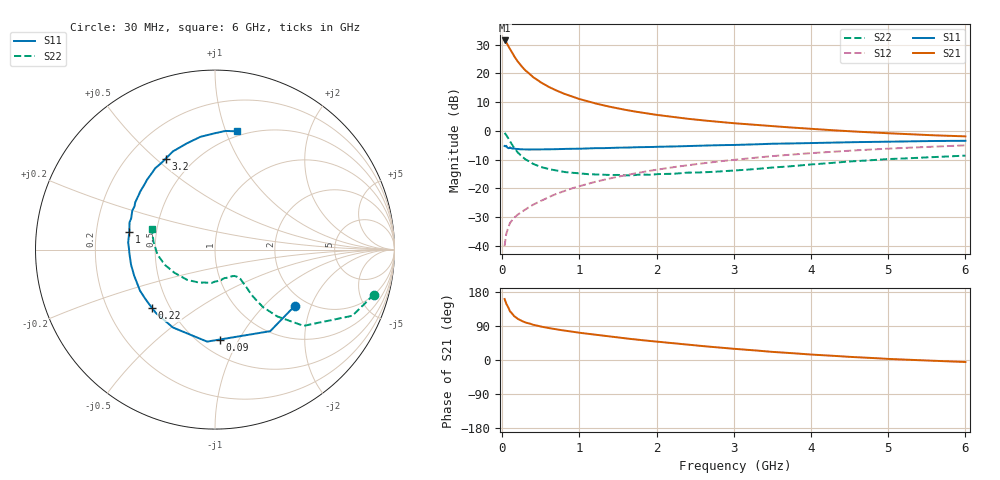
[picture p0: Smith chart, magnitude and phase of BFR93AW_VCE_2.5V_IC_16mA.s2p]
! Infineon Technologies  Discrete & RF Semiconductors
! BFR93AW
! VCE =  2.5 V,  IC =  16 mA
! Common Emitter S-Parameters:  Nov 2015
# GHz  S  MA  R  50
!  f  S11  S21  S12  S22
! GHz  MAG  ANG  MAG  ANG  MAG  ANG  MAG  ANG
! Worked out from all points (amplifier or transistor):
!   206 points, 30 MHz to 6 GHz, reference 50 ohm
!   highest |S21| = 31.5 dB at 30 MHz (marker M1)
!   |S21| within 3 dB of that: start of sweep to 100.6 MHz
!   unconditionally stable (mu >= 1): 582.5 MHz to 2.319 GHz
!   at 200 MHz: K = 0.65, MSG = 26.7 dB, |S12| = -29.2 dB
!   at 1.56 GHz: K = 1.05, MAG = 10.2 dB, |S12| = -15.7 dB
!   at 6 GHz: K = 0.93, MSG = 1.6 dB, |S12| = -5.1 dB
!   S11 on the Smith chart (normalised r, x): 30 MHz: 1.73, -1.54; 90 MHz: 0.62, -0.84; 220 MHz: 0.40, -0.34; 1 GHz: 0.35, +0.09; 3.2 GHz: 0.35, +0.54; 6 GHz: 0.46, +1.10
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0.03  0.5438 -35.3  37.41 160.9  0.0098 72.5  0.9202 -15.8
0.05  0.5488 -55.9  34.89 148.5  0.0157 66.4  0.8492 -25.7
0.09  0.5018 -87.0  27.9 133.2  0.023 60.1  0.6868 -37.0
0.1  0.5146 -94.9  26.57 128.2  0.0249 59.1  0.6517 -40.7
0.15  0.4933 -118.4  20.18 116.2  0.0303 56.0  0.5094 -47.0
0.2  0.4829 -133.0  16.1 108.6  0.0347 55.7  0.4202 -50.1
0.22  0.4781 -137.2  14.94 106.7  0.0363 56.3  0.3954 -50.4
0.26  0.4754 -145.2  12.83 102.4  0.0394 57.5  0.3503 -50.9
0.3  0.4765 -151.2  11.24 99.0  0.0428 58.9  0.319 -51.0
0.4  0.4733 -162.3  8.577 92.9  0.0517 62.0  0.2655 -50.0
0.5  0.4751 -169.8  6.954 88.1  0.0601 63.9  0.2341 -49.6
0.6  0.4765 -175.2  5.828 84.3  0.07 65.5  0.2158 -49.1
0.7  0.4787 179.8  5.037 80.8  0.0796 66.7  0.2036 -49.8
1  0.4869 168.4  3.572 71.9  0.1086 67.6  0.1815 -53.9
1.04  0.4895 167.1  3.449 70.9  0.1126 67.6  0.1791 -55.4
1.5  0.5095 154.8  2.447 59.4  0.1588 66.4  0.1704 -68.2
2.02  0.5275 142.1  1.879 47.9  0.2122 63.1  0.1762 -85.5
3.1  0.5713 120.3  1.324 28.1  0.3218 53.5  0.2074 -119.3
3.2  0.5764 118.5  1.292 26.6  0.3319 52.4  0.2118 -123.0
4.1  0.6158 103.3  1.059 13.3  0.4167 42.8  0.2651 -152.9
5.1  0.649 89.8  0.894 2.1  0.4964 31.7  0.3255 -177.7
6  0.6701 79.4  0.8 -5.3  0.5578 22.2  0.3697 162.1
